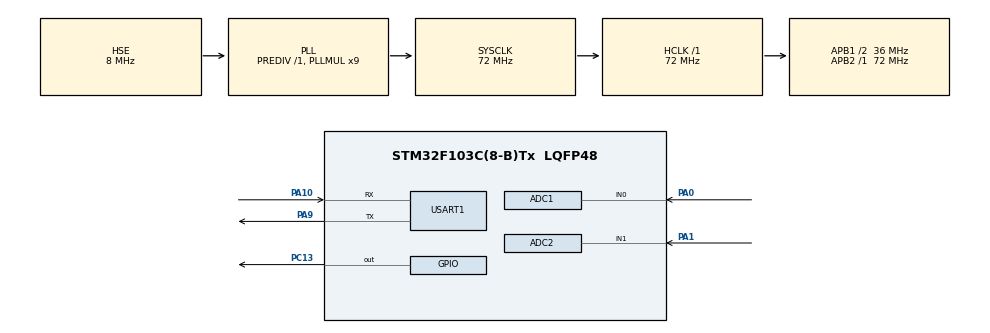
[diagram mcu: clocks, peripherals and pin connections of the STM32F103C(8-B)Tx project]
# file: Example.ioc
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ADC1.Channel-0\#ChannelRegularConversion=ADC_CHANNEL_0
ADC1.ContinuousConvMode=DISABLE
ADC1.ExternalTrigConv=ADC_SOFTWARE_START
ADC1.NbrOfConversion=1
ADC1.NbrOfConversionFlag=1
ADC1.Rank-0\#ChannelRegularConversion=1
ADC1.SamplingTime-0\#ChannelRegularConversion=ADC_SAMPLETIME_55CYCLES_5
ADC1.master=1
ADC2.Channel-4\#ChannelRegularConversion=ADC_CHANNEL_1
ADC2.NbrOfConversionFlag=1
ADC2.Rank-4\#ChannelRegularConversion=1
ADC2.SamplingTime-4\#ChannelRegularConversion=ADC_SAMPLETIME_239CYCLES_5
FREERTOS.Tasks01=logger,0,512,StartLogger,Default,NULL,Dynamic,NULL,NULL
FREERTOS.configMAX_PRIORITIES=5
FREERTOS.configTOTAL_HEAP_SIZE=8192
Mcu.Family=STM32F1
Mcu.Name=STM32F103C(8-B)Tx
Mcu.Package=LQFP48
NVIC.ADC1_2_IRQn=true\:5\:0\:false\:false\:true\:true\:true\:true\:true
NVIC.PriorityGroup=NVIC_PRIORITYGROUP_4
NVIC.TIM2_IRQn=true\:15\:0\:false\:false\:true\:false\:false\:true\:true
NVIC.TimeBase=TIM2_IRQn
NVIC.TimeBaseIP=TIM2
PA0-WKUP.Signal=ADCx_IN0
PA1.Signal=ADCx_IN1
PA10.Mode=Asynchronous
PA10.Signal=USART1_RX
PA9.Mode=Asynchronous
PA9.Signal=USART1_TX
PC13-TAMPER-RTC.Signal=GPIO_Output
PD0-OSC_IN.Mode=HSE-External-Oscillator
PD0-OSC_IN.Signal=RCC_OSC_IN
PD1-OSC_OUT.Mode=HSE-External-Oscillator
PD1-OSC_OUT.Signal=RCC_OSC_OUT
ProjectManager.HeapSize=0x200
ProjectManager.StackSize=0x400
ProjectManager.TargetToolchain=Makefile
RCC.ADCPresc=RCC_ADCPCLK2_DIV8
RCC.AHBFreq_Value=72000000
RCC.APB1CLKDivider=RCC_HCLK_DIV2
RCC.APB1Freq_Value=36000000
RCC.APB1TimFreq_Value=72000000
RCC.APB2Freq_Value=72000000
RCC.APB2TimFreq_Value=72000000
RCC.HCLKFreq_Value=72000000
RCC.PLLMUL=RCC_PLL_MUL9
RCC.PLLSourceVirtual=RCC_PLLSOURCE_HSE
RCC.SYSCLKFreq_VALUE=72000000
RCC.SYSCLKSource=RCC_SYSCLKSOURCE_PLLCLK
RCC.USBFreq_Value=72000000
SH.ADCx_IN0.0=ADC1_IN0,IN0
SH.ADCx_IN1.0=ADC2_IN1,IN1
USART1.VirtualMode=VM_ASYNC
VP_FREERTOS_VS_CMSIS_V1.Mode=CMSIS_V1
VP_SYS_VS_ND.Mode=No_Debug
VP_SYS_VS_tim2.Mode=TIM2
board=custom

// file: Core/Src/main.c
/* USER CODE BEGIN Header */
/**
  ******************************************************************************
  * @file           : main.c
  * @brief          : Main program body
  ******************************************************************************
  * @attention
  *
  * Copyright (c) 2026 STMicroelectronics.
  * All rights reserved.
  *
  * This software is licensed under terms that can be found in the LICENSE file
  * in the root directory of this software component.
  * If no LICENSE file comes with this software, it is provided AS-IS.
  *
  ******************************************************************************
  */
/* USER CODE END Header */
#include "main.h"
#include "cmsis_os.h"
#include "adc.h"
#include "usart.h"
#include "gpio.h"

/* USER CODE BEGIN PV */
volatile uint16_t adc_buffer_corriente[100]; // Buffer para 100 muestras (100ms)
volatile uint16_t indice_adc = 0;
volatile uint8_t buffer_listo = 0; // Bandera para la tarea
/* USER CODE END PV */

void SystemClock_Config(void);
void MX_FREERTOS_Init(void);

int main(void)
{

  /* MCU Configuration--------------------------------------------------------*/

  /* Reset of all peripherals, Initializes the Flash interface and the Systick. */
  HAL_Init();

  /* Configure the system clock */
  SystemClock_Config();

  /* Initialize all configured peripherals */
  MX_GPIO_Init();
  MX_USART1_UART_Init();
  MX_ADC1_Init();
  MX_ADC2_Init();

  /* Call init function for freertos objects (in cmsis_os2.c) */
  MX_FREERTOS_Init();

  /* Start scheduler */
  osKernelStart();

  /* We should never get here as control is now taken by the scheduler */

  /* Infinite loop */
  while (1)
  {

  }
}

void SystemClock_Config(void)
{
  RCC_OscInitTypeDef RCC_OscInitStruct = {0};
  RCC_ClkInitTypeDef RCC_ClkInitStruct = {0};
  RCC_PeriphCLKInitTypeDef PeriphClkInit = {0};

  /** Initializes the RCC Oscillators according to the specified parameters
  * in the RCC_OscInitTypeDef structure.
  */
  RCC_OscInitStruct.OscillatorType = RCC_OSCILLATORTYPE_HSE;
  RCC_OscInitStruct.HSEState = RCC_HSE_ON;
  RCC_OscInitStruct.HSEPredivValue = RCC_HSE_PREDIV_DIV1;
  RCC_OscInitStruct.HSIState = RCC_HSI_ON;
  RCC_OscInitStruct.PLL.PLLState = RCC_PLL_ON;
  RCC_OscInitStruct.PLL.PLLSource = RCC_PLLSOURCE_HSE;
  RCC_OscInitStruct.PLL.PLLMUL = RCC_PLL_MUL9;
  if (HAL_RCC_OscConfig(&RCC_OscInitStruct) != HAL_OK)
  {
    Error_Handler();
  }

  /** Initializes the CPU, AHB and APB buses clocks
  */
  RCC_ClkInitStruct.ClockType = RCC_CLOCKTYPE_HCLK|RCC_CLOCKTYPE_SYSCLK
                              |RCC_CLOCKTYPE_PCLK1|RCC_CLOCKTYPE_PCLK2;
  RCC_ClkInitStruct.SYSCLKSource = RCC_SYSCLKSOURCE_PLLCLK;
  RCC_ClkInitStruct.AHBCLKDivider = RCC_SYSCLK_DIV1;
  RCC_ClkInitStruct.APB1CLKDivider = RCC_HCLK_DIV2;
  RCC_ClkInitStruct.APB2CLKDivider = RCC_HCLK_DIV1;

  if (HAL_RCC_ClockConfig(&RCC_ClkInitStruct, FLASH_LATENCY_2) != HAL_OK)
  {
    Error_Handler();
  }
  PeriphClkInit.PeriphClockSelection = RCC_PERIPHCLK_ADC;
  PeriphClkInit.AdcClockSelection = RCC_ADCPCLK2_DIV8;
  if (HAL_RCCEx_PeriphCLKConfig(&PeriphClkInit) != HAL_OK)
  {
    Error_Handler();
  }
}

/* USER CODE BEGIN 4 */
int _write(int file, char *ptr, int len)
{
  HAL_UART_Transmit(&huart1, (uint8_t*)ptr, len, HAL_MAX_DELAY);
  return len;
}
void HAL_ADC_ConvCpltCallback(ADC_HandleTypeDef* hadc) {
    if (hadc->Instance == ADC1) {
        // Almacenamiento puro
        adc_buffer_corriente[indice_adc] = HAL_ADC_GetValue(hadc);
        indice_adc++;

        // Cuando llenamos el buffer (ej. 100 muestras = 100ms a 1kHz)
        if (indice_adc >= 100) {
            indice_adc = 0;
            buffer_listo = 1; // Avisamos a la tarea
        }
    }
}
/* USER CODE END 4 */

void HAL_TIM_PeriodElapsedCallback(TIM_HandleTypeDef *htim)
{
  if (htim->Instance == TIM2)
  {
    HAL_IncTick();
  }
}

void Error_Handler(void)
{
  __disable_irq();
  while (1)
  {
  }
}

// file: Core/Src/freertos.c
/* USER CODE BEGIN Header */
/**
  ******************************************************************************
  * File Name          : freertos.c
  * Description        : Code for freertos applications
  ******************************************************************************
  * @attention
  *
  * Copyright (c) 2026 STMicroelectronics.
  * All rights reserved.
  *
  * This software is licensed under terms that can be found in the LICENSE file
  * in the root directory of this software component.
  * If no LICENSE file comes with this software, it is provided AS-IS.
  *
  ******************************************************************************
  */
/* USER CODE END Header */

#include "FreeRTOS.h"
#include "task.h"
#include "main.h"
#include "cmsis_os.h"
#include "adc.h"
#include "stdio.h"
#include "math.h"

/* USER CODE BEGIN Variables */
extern volatile uint16_t adc_buffer_corriente[100]; // Buffer para 100 muestras (100ms)
extern volatile uint8_t buffer_listo; // Bandera para la tarea
/* USER CODE END Variables */
osThreadId loggerHandle;
osThreadId samplerHandle;

/* USER CODE BEGIN FunctionPrototypes */
float Procesar_Corriente_RMS(void);
/* USER CODE END FunctionPrototypes */

void StartLogger(void const * argument);
void StartSampler(void const * argument);

void MX_FREERTOS_Init(void); /* (MISRA C 2004 rule 8.1) */

/* GetIdleTaskMemory prototype (linked to static allocation support) */
void vApplicationGetIdleTaskMemory( StaticTask_t **ppxIdleTaskTCBBuffer, StackType_t **ppxIdleTaskStackBuffer, uint32_t *pulIdleTaskStackSize );

/* USER CODE BEGIN GET_IDLE_TASK_MEMORY */
static StaticTask_t xIdleTaskTCBBuffer;
static StackType_t xIdleStack[configMINIMAL_STACK_SIZE];

void vApplicationGetIdleTaskMemory( StaticTask_t **ppxIdleTaskTCBBuffer, StackType_t **ppxIdleTaskStackBuffer, uint32_t *pulIdleTaskStackSize )
{
  *ppxIdleTaskTCBBuffer = &xIdleTaskTCBBuffer;
  *ppxIdleTaskStackBuffer = &xIdleStack[0];
  *pulIdleTaskStackSize = configMINIMAL_STACK_SIZE;
  /* place for user code */
}
/* USER CODE END GET_IDLE_TASK_MEMORY */

void MX_FREERTOS_Init(void) {

  /* Create the thread(s) */
  /* definition and creation of logger */
  osThreadDef(logger, StartLogger, osPriorityNormal, 0, 512);
  loggerHandle = osThreadCreate(osThread(logger), NULL);

  osThreadDef(sampler, StartSampler, osPriorityHigh, 0, 128);
  samplerHandle = osThreadCreate(osThread(sampler), NULL);

}

void StartLogger(void const * argument)
{
  /* USER CODE BEGIN StartLogger */
  printf("Iniciando Logger...\r\n");
  /* Infinite loop */
  uint32_t acumulador_temp = 0;
  uint32_t cuenta_muestras_temp = 0;
  float temp_filtrada = 0.0f;
  float corriente_actual = 0.0f;

  /* Infinite loop */
  for(;;)
  {
    if (buffer_listo) {
        // 1. PROCESAMOS LA CORRIENTE (Esto tarda microsegundos, no bloquea)
        corriente_actual = Procesar_Corriente_RMS();
        buffer_listo = 0; // Liberamos el buffer al toque

        // 2. TOMAMOS UNA SOLA MUESTRA DE TEMPERATURA
        // Como pasó 100ms desde la última vez, el capacitor interno está limpísimo (0 crosstalk)
        HAL_ADC_Start(&hadc2);
        if(HAL_ADC_PollForConversion(&hadc2, 2) == HAL_OK) {
            acumulador_temp += HAL_ADC_GetValue(&hadc2);
            cuenta_muestras_temp++;
        }
        HAL_ADC_Stop(&hadc2);

        // 3. ¿YA TENEMOS LAS 32 MUESTRAS? (Pasan cada ~3.2 segundos)
        if (cuenta_muestras_temp >= 32) {
            float promedio_ticks = (float)acumulador_temp / 32.0f;
            float voltaje_mv = promedio_ticks * (3262.0f / 4096.0f);
            temp_filtrada = voltaje_mv / 10.0f;

            // Reseteamos para el próximo ciclo largo
            acumulador_temp = 0;
            cuenta_muestras_temp = 0;
        }

        // 4. ENVIAMOS A PYTHON
        // Manda la corriente nueva siempre, y la temperatura se actualiza cada 3.2s
        printf("%.2f,%.2f\r\n", temp_filtrada, corriente_actual);
    }

    vTaskDelay(pdMS_TO_TICKS(1));
  }
  /* USER CODE END StartLogger */
}

/* USER CODE BEGIN Header_StartSampler */
/** @brief  Function implementing the sampler thread.
  * @param  argument: Not used
  * @retval None
*/
/* USER CODE END Header_StartSampler */
void StartSampler(void const * argument)
{
  /* USER CODE BEGIN StartSampler */
  /* Infinite loop */
  TickType_t xLastWakeTime;
  const TickType_t xFrequency = pdMS_TO_TICKS(1); // 1 ms exacto
  xLastWakeTime = xTaskGetTickCount();

  for(;;) {
      vTaskDelayUntil(&xLastWakeTime, xFrequency);
      HAL_ADC_Start_IT(&hadc1); // Disparo manual cada 1ms
  }
  /* USER CODE END StartSampler */
}
/* USER CODE BEGIN Application */
/* USER CODE BEGIN 4 */

/**
 * @brief Calcula la corriente RMS centrando la señal con el offset calibrado.
 * @retval Valor de corriente eficaz en Voltios (basado en VREF de 3.262V).
 */
float Procesar_Corriente_RMS(void) {
    float suma_cuadrados = 0.0f;

    for(int i = 0; i < 100; i++) {
        // Restamos offset usando tus 3.262V reales (1.631V = 2048 ticks)
        int32_t centrado = (int32_t)adc_buffer_corriente[i] - 2048;
        suma_cuadrados += (float)(centrado * centrado);
    }

    float rms_raw = sqrtf(suma_cuadrados / 100.0f);
    return (rms_raw * (3.262f / 4096.0f));
}

/* USER CODE END 4 */
/* USER CODE END Application */
